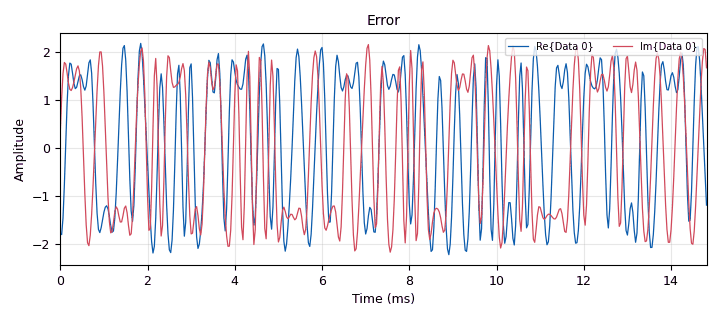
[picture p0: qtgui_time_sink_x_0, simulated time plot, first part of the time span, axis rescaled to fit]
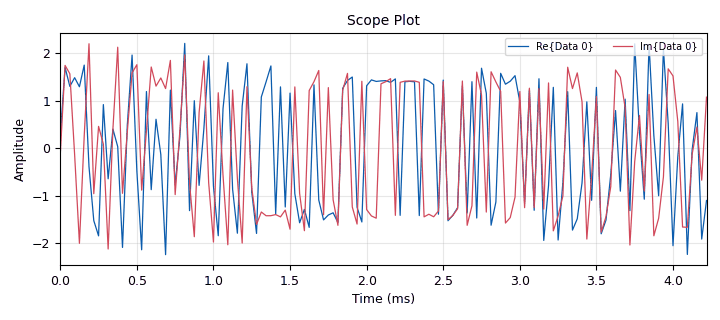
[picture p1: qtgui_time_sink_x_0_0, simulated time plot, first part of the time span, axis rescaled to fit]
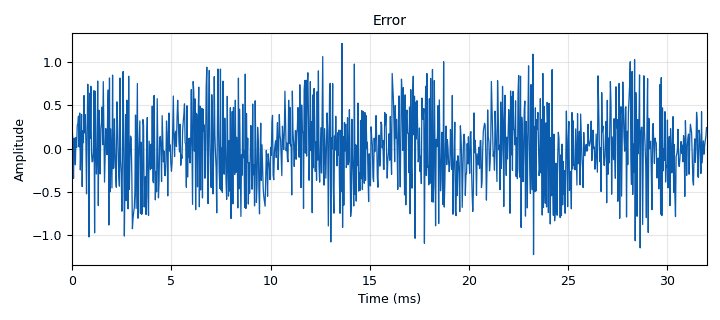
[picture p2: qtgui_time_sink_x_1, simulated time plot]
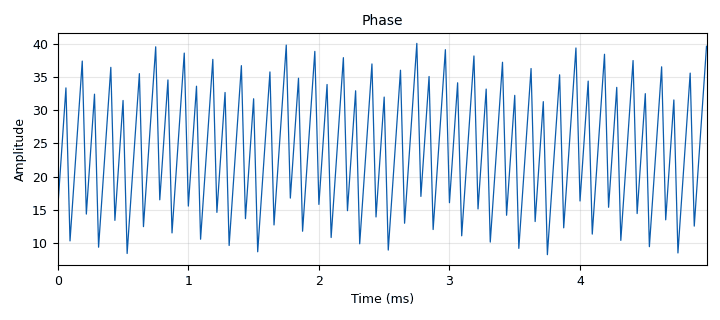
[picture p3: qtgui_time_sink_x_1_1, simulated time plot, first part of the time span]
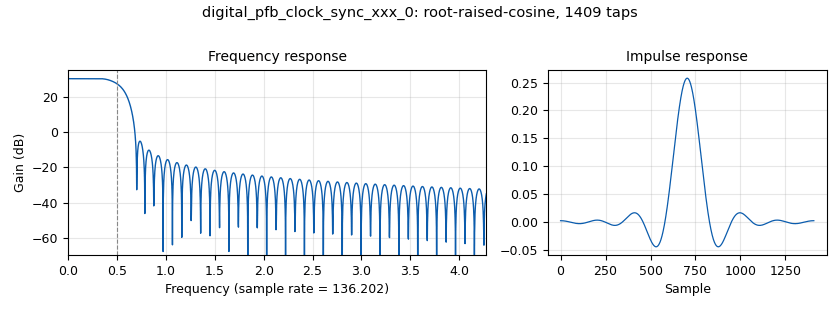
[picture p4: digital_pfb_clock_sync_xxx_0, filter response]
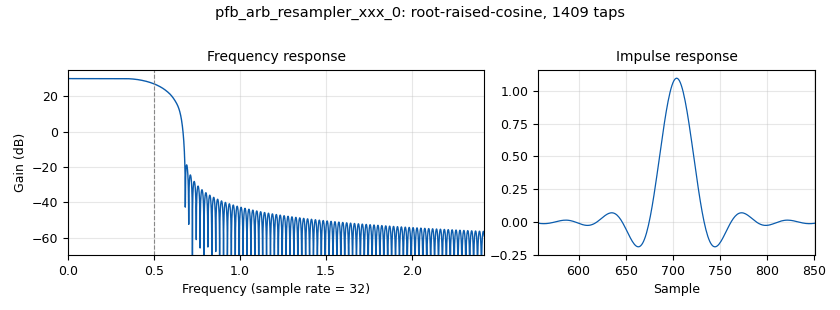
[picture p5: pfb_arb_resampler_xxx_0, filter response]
<?xml version='1.0' encoding='utf-8'?>
<?grc format='1' created='3.7.10'?>
<flow_graph>
<block>
<key>options</key>
<param><key>id</key><value>pam_timing</value></param>
<param><key>author</key><value>Alexandros-Apostolos A. Boulogeorgos</value></param>
<param><key>category</key><value>Custom</value></param>
<param><key>generate_options</key><value>qt_gui</value></param>
<param><key>title</key><value>PAM Timing</value></param>
</block>
<block>
<key>variable</key>
<param><key>id</key><value>const</value></param>
<param><key>value</key><value>digital.qpsk_constellation()</value></param>
</block>
<block>
<key>variable_qtgui_range</key>
<param><key>id</key><value>freq_offset</value></param>
<param><key>value</key><value>0</value></param>
<param><key>gui_hint</key><value>4,2,1,1</value></param>
<param><key>label</key><value>Frequency Offset</value></param>
<param><key>orient</key><value>Qt.Horizontal</value></param>
<param><key>start</key><value>-.5</value></param>
<param><key>step</key><value>.01</value></param>
<param><key>stop</key><value>.5</value></param>
</block>
<block>
<key>variable_qtgui_range</key>
<param><key>id</key><value>interpratio</value></param>
<param><key>value</key><value>1</value></param>
<param><key>gui_hint</key><value>2,2,1,1</value></param>
<param><key>label</key><value>Timing Offset</value></param>
<param><key>orient</key><value>Qt.Horizontal</value></param>
<param><key>start</key><value>.99</value></param>
<param><key>step</key><value>0.0001</value></param>
<param><key>stop</key><value>1.01</value></param>
</block>
<block>
<key>variable</key>
<param><key>id</key><value>nfilts</value></param>
<param><key>value</key><value>32</value></param>
</block>
<block>
<key>variable_qtgui_range</key>
<param><key>id</key><value>noise_amp</value></param>
<param><key>value</key><value>0</value></param>
<param><key>gui_hint</key><value>3,2,1,1</value></param>
<param><key>label</key><value>Channel Noise</value></param>
<param><key>orient</key><value>Qt.Horizontal</value></param>
<param><key>start</key><value>0</value></param>
<param><key>step</key><value>.001</value></param>
<param><key>stop</key><value>1</value></param>
</block>
<block>
<key>variable</key>
<param><key>id</key><value>rolloff</value></param>
<param><key>value</key><value>.35</value></param>
</block>
<block>
<key>variable</key>
<param><key>id</key><value>samp_rate</value></param>
<param><key>value</key><value>32000</value></param>
</block>
<block>
<key>variable</key>
<param><key>id</key><value>sig_amp</value></param>
<param><key>value</key><value>1</value></param>
</block>
<block>
<key>variable</key>
<param><key>id</key><value>spb</value></param>
<param><key>value</key><value>4.2563</value></param>
</block>
<block>
<key>variable_qtgui_range</key>
<param><key>id</key><value>time_bw</value></param>
<param><key>value</key><value>0</value></param>
<param><key>gui_hint</key><value>1,2,1,1</value></param>
<param><key>label</key><value>Timing Loop BW</value></param>
<param><key>orient</key><value>Qt.Horizontal</value></param>
<param><key>start</key><value>0</value></param>
<param><key>step</key><value>.001</value></param>
<param><key>stop</key><value>.1</value></param>
</block>
<block>
<key>analog_random_source_x</key>
<param><key>id</key><value>analog_random_source_x</value></param>
<param><key>max</key><value>const.arity()</value></param>
<param><key>min</key><value>0</value></param>
<param><key>num_samps</key><value>10000000</value></param>
<param><key>type</key><value>byte</value></param>
<param><key>repeat</key><value>True</value></param>
</block>
<block>
<key>blocks_multiply_const_vxx</key>
<param><key>id</key><value>blocks_multiply_const_vxx_0</value></param>
<param><key>const</key><value>sig_amp</value></param>
<param><key>type</key><value>complex</value></param>
</block>
<block>
<key>blocks_throttle</key>
<param><key>id</key><value>blocks_throttle_0</value></param>
<param><key>samples_per_second</key><value>samp_rate</value></param>
<param><key>type</key><value>complex</value></param>
</block>
<block>
<key>channels_channel_model</key>
<param><key>id</key><value>channels_channel_model_0</value></param>
<param><key>epsilon</key><value>interpratio</value></param>
<param><key>freq_offset</key><value>freq_offset</value></param>
<param><key>noise_voltage</key><value>noise_amp</value></param>
<param><key>seed</key><value>42</value></param>
<param><key>taps</key><value>1.0</value></param>
</block>
<block>
<key>digital_chunks_to_symbols_xx</key>
<param><key>id</key><value>digital_chunks_to_symbols_xx</value></param>
<param><key>dimension</key><value>1</value></param>
<param><key>in_type</key><value>byte</value></param>
<param><key>out_type</key><value>complex</value></param>
<param><key>symbol_table</key><value>const.points()</value></param>
</block>
<block>
<key>digital_pfb_clock_sync_xxx</key>
<param><key>id</key><value>digital_pfb_clock_sync_xxx_0</value></param>
<param><key>filter_size</key><value>nfilts</value></param>
<param><key>init_phase</key><value>16</value></param>
<param><key>loop_bw</key><value>time_bw</value></param>
<param><key>max_dev</key><value>1.5</value></param>
<param><key>osps</key><value>1</value></param>
<param><key>sps</key><value>spb</value></param>
<param><key>taps</key><value>firdes.root_raised_cosine(nfilts, nfilts*spb, 1.0, rolloff, 44*nfilts)</value></param>
<param><key>type</key><value>ccf</value></param>
</block>
<block>
<key>import</key>
<param><key>id</key><value>import_0</value></param>
<param><key>import</key><value>from gnuradio import digital</value></param>
</block>
<block>
<key>qtgui_tab_widget</key>
<param><key>id</key><value>notebook</value></param>
<param><key>gui_hint</key><value>1,1,5,1</value></param>
<param><key>label0</key><value>Error</value></param>
<param><key>label1</key><value>Phase</value></param>
<param><key>label2</key><value>Freq</value></param>
<param><key>label3</key><value>Resampled Signal</value></param>
<param><key>num_tabs</key><value>4</value></param>
</block>
<block>
<key>pfb_arb_resampler_xxx</key>
<param><key>id</key><value>pfb_arb_resampler_xxx_0</value></param>
<param><key>nfilts</key><value>32</value></param>
<param><key>rrate</key><value>spb</value></param>
<param><key>atten</key><value>100</value></param>
<param><key>taps</key><value>firdes.root_raised_cosine(nfilts, nfilts, 1.0, rolloff, 44*nfilts)</value></param>
<param><key>type</key><value>ccf</value></param>
</block>
<block>
<key>qtgui_time_sink_x</key>
<param><key>id</key><value>qtgui_time_sink_x_0</value></param>
<param><key>gui_hint</key><value>notebook@3</value></param>
<param><key>color1</key><value>"blue"</value></param>
<param><key>label1</key><value></value></param>
<param><key>color2</key><value>"red"</value></param>
<param><key>label2</key><value></value></param>
<param><key>name</key><value>Error</value></param>
<param><key>size</key><value>1024</value></param>
<param><key>srate</key><value>samp_rate</value></param>
<param><key>type</key><value>complex</value></param>
</block>
<block>
<key>qtgui_time_sink_x</key>
<param><key>id</key><value>qtgui_time_sink_x_0_0</value></param>
<param><key>color1</key><value>"blue"</value></param>
<param><key>label1</key><value></value></param>
<param><key>color2</key><value>"red"</value></param>
<param><key>label2</key><value></value></param>
<param><key>name</key><value>Scope Plot</value></param>
<param><key>size</key><value>1024</value></param>
<param><key>srate</key><value>samp_rate</value></param>
<param><key>type</key><value>complex</value></param>
</block>
<block>
<key>qtgui_time_sink_x</key>
<param><key>id</key><value>qtgui_time_sink_x_1</value></param>
<param><key>autoscale</key><value>True</value></param>
<param><key>gui_hint</key><value>notebook@0</value></param>
<param><key>color1</key><value>"blue"</value></param>
<param><key>label1</key><value></value></param>
<param><key>name</key><value>Error</value></param>
<param><key>size</key><value>1024</value></param>
<param><key>srate</key><value>samp_rate</value></param>
<param><key>type</key><value>float</value></param>
</block>
<block>
<key>qtgui_time_sink_x</key>
<param><key>id</key><value>qtgui_time_sink_x_1_0</value></param>
<param><key>autoscale</key><value>True</value></param>
<param><key>gui_hint</key><value>notebook@2</value></param>
<param><key>color1</key><value>"blue"</value></param>
<param><key>label1</key><value></value></param>
<param><key>name</key><value>Rate</value></param>
<param><key>size</key><value>1024</value></param>
<param><key>srate</key><value>samp_rate</value></param>
<param><key>type</key><value>float</value></param>
</block>
<block>
<key>qtgui_time_sink_x</key>
<param><key>id</key><value>qtgui_time_sink_x_1_1</value></param>
<param><key>autoscale</key><value>True</value></param>
<param><key>gui_hint</key><value>notebook@1</value></param>
<param><key>color1</key><value>"blue"</value></param>
<param><key>label1</key><value></value></param>
<param><key>name</key><value>Phase</value></param>
<param><key>size</key><value>1024</value></param>
<param><key>srate</key><value>samp_rate</value></param>
<param><key>type</key><value>float</value></param>
</block>
<connection><source_block_id>analog_random_source_x</source_block_id><sink_block_id>digital_chunks_to_symbols_xx</sink_block_id><source_key>0</source_key><sink_key>0</sink_key></connection>
<connection><source_block_id>blocks_multiply_const_vxx_0</source_block_id><sink_block_id>channels_channel_model_0</sink_block_id><source_key>0</source_key><sink_key>0</sink_key></connection>
<connection><source_block_id>blocks_multiply_const_vxx_0</source_block_id><sink_block_id>qtgui_time_sink_x_0</sink_block_id><source_key>0</source_key><sink_key>0</sink_key></connection>
<connection><source_block_id>blocks_throttle_0</source_block_id><sink_block_id>digital_pfb_clock_sync_xxx_0</sink_block_id><source_key>0</source_key><sink_key>0</sink_key></connection>
<connection><source_block_id>channels_channel_model_0</source_block_id><sink_block_id>blocks_throttle_0</sink_block_id><source_key>0</source_key><sink_key>0</sink_key></connection>
<connection><source_block_id>digital_chunks_to_symbols_xx</source_block_id><sink_block_id>pfb_arb_resampler_xxx_0</sink_block_id><source_key>0</source_key><sink_key>0</sink_key></connection>
<connection><source_block_id>digital_pfb_clock_sync_xxx_0</source_block_id><sink_block_id>qtgui_time_sink_x_1</sink_block_id><source_key>1</source_key><sink_key>0</sink_key></connection>
<connection><source_block_id>digital_pfb_clock_sync_xxx_0</source_block_id><sink_block_id>qtgui_time_sink_x_0_0</sink_block_id><source_key>0</source_key><sink_key>0</sink_key></connection>
<connection><source_block_id>digital_pfb_clock_sync_xxx_0</source_block_id><sink_block_id>qtgui_time_sink_x_1_1</sink_block_id><source_key>3</source_key><sink_key>0</sink_key></connection>
<connection><source_block_id>digital_pfb_clock_sync_xxx_0</source_block_id><sink_block_id>qtgui_time_sink_x_1_0</sink_block_id><source_key>2</source_key><sink_key>0</sink_key></connection>
<connection><source_block_id>pfb_arb_resampler_xxx_0</source_block_id><sink_block_id>blocks_multiply_const_vxx_0</sink_block_id><source_key>0</source_key><sink_key>0</sink_key></connection>
</flow_graph>
